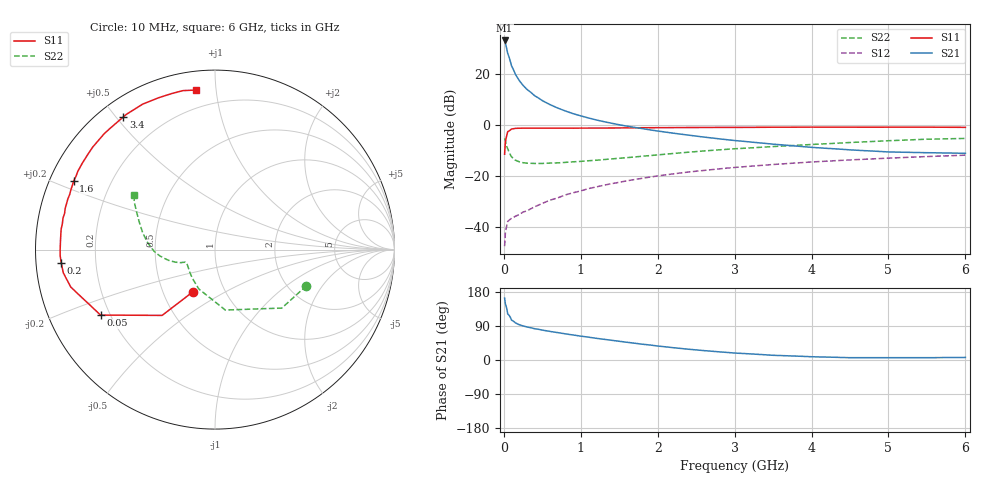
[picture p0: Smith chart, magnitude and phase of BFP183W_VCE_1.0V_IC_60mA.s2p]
! Infineon Technologies  Discrete & RF Semiconductors
! BFP183W
! VCE =  1.0 V,  IC =  60 mA
! Common Emitter S-Parameters:  Jan 2017
# GHz  S  MA  R  50
!  f  S11  S21  S12  S22
! GHz  MAG  ANG  MAG  ANG  MAG  ANG  MAG  ANG
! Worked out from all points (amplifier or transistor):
!   77 points, 10 MHz to 6 GHz, reference 50 ohm
!   highest |S21| = 33.1 dB at 10 MHz (marker M1)
!   |S21| within 3 dB of that: start of sweep to 35.26 MHz
!   unconditionally stable (mu >= 1): start of sweep to 17.86 MHz; 193.9 MHz to end of sweep
!   at 130 MHz: K = 0.78, MSG = 28.7 dB, |S12| = -36.1 dB
!   at 2.2 GHz: K = 1.48, MAG = 3.9 dB, |S12| = -19.2 dB
!   at 6 GHz: K = 1.45, MAG = -3.6 dB, |S12| = -11.9 dB
!   S11 on the Smith chart (normalised r, x): 10 MHz: 0.70, -0.36; 50 MHz: 0.16, -0.26; 200 MHz: 0.08, -0.04; 1.6 GHz: 0.07, +0.23; 3.4 GHz: 0.07, +0.52; 6 GHz: 0.10, +0.88
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0.01  0.2664 -117.7  45.16 163.4  0.0042 68.7  0.5478 -21.6
0.02  0.4705 -128.8  40.42 148.0  0.0076 57.0  0.4947 -41.2
0.05  0.7348 -150.2  25.43 121.8  0.0128 40.7  0.3417 -80.3
0.1  0.8305 -165.5  14.33 105.1  0.0148 35.8  0.2376 -112.1
0.15  0.855 -171.3  9.825 98.0  0.0162 35.4  0.2034 -128.4
0.2  0.8601 -175.1  7.419 93.2  0.0175 40.5  0.1893 -137.7
0.25  0.8633 -177.8  5.952 89.8  0.0196 43.3  0.1816 -143.6
0.3  0.8629 -179.7  4.965 87.2  0.0206 46.6  0.178 -147.8
0.4  0.8622 177.2  3.739 82.6  0.0248 52.5  0.1756 -152.4
0.5  0.863 174.6  2.99 78.9  0.0289 56.2  0.1756 -154.8
0.6  0.8647 172.4  2.498 75.4  0.0335 59.3  0.1786 -156.3
0.7  0.8625 170.4  2.14 72.3  0.0371 62.8  0.1802 -157.2
0.9  0.8619 166.5  1.661 66.0  0.0467 64.0  0.189 -157.9
1.1  0.8659 162.7  1.367 60.3  0.0564 65.9  0.1984 -158.6
1.3  0.866 159.2  1.157 54.7  0.0657 65.5  0.2091 -159.6
1.6  0.8751 154.1  0.946 46.8  0.0802 64.7  0.2281 -162.0
2.1  0.8832 145.0  0.723 34.8  0.1047 61.8  0.2665 -167.2
3.1  0.8937 129.1  0.479 17.3  0.1506 53.1  0.347 179.9
3.4  0.8982 124.7  0.434 13.7  0.1631 50.6  0.3685 175.7
4.1  0.9038 115.2  0.355 8.1  0.1911 44.1  0.4202 165.4
5.1  0.9021 104.8  0.293 6.1  0.2262 35.3  0.4962 152.7
6  0.8953 96.9  0.278 6.8  0.2552 27.7  0.543 145.8
